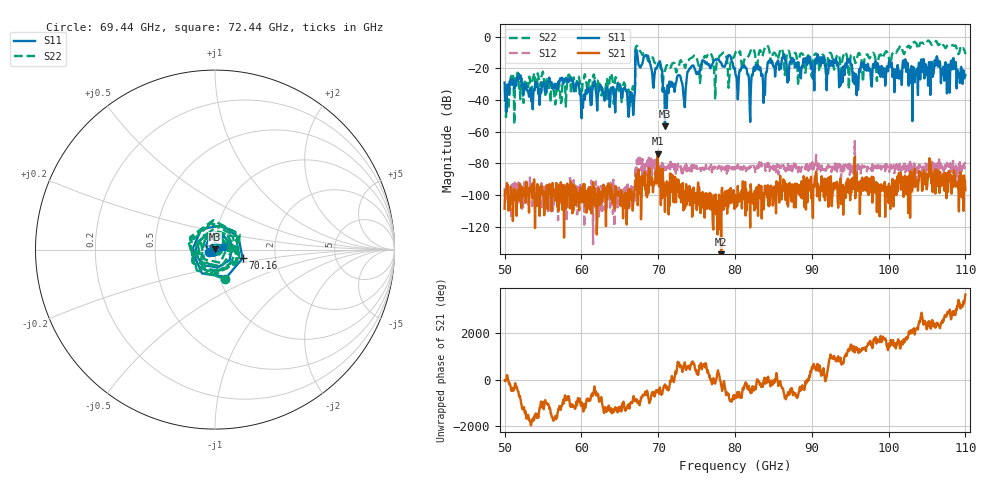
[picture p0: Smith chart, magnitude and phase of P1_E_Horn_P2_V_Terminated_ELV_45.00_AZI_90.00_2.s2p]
! 11/26/2026 10:26:47 AM
! C:\ANRITSUVNA\TEMP\TEMP.S2P
! CHANNEL.1
! TR.MEASUREMENT
! RAW.DATA
# HZ S RI R 50.0
! FREQ.HZ  S11RE  S11IM  S21RE  S21IM  S12RE  S12IM  S22RE  S22IM
!; PortSelection: Port_12
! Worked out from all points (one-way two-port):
!   1001 points, 50 GHz to 110 GHz, reference 50 ohm
!   highest |S21| = -73.91 dB at 69.92 GHz (marker M1); lowest = -140.0 dB at 78.2 GHz (marker M2)
!   lowest |S11| = -56.7 dB at 70.88 GHz (marker M3), VSWR 1.00, Z = 50 + j0.147 ohm
!   |S11| at or under -10 dB: start of sweep to 67.04 GHz; 67.25 GHz to end of sweep
!   |S22| runs from -55.3 to -2.4 dB; largest |S21 - S12| = 0.00057
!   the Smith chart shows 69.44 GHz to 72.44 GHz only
!   S11 on the Smith chart (normalised r, x): 69.44 GHz: 0.93, -0.02; 70.16 GHz: 1.36, -0.13; 72.44 GHz: 1.10, +0.03
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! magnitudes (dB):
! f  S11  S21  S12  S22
! 50 GHz  -29.0  -108.7  -95.6  -34.2
! 58.46 GHz  -27.1  -99.1  -102.8  -24.5
! 60.02 GHz  -51.5  -98.0  -102.9  -37.7
! 66.32 GHz  -36.5  -96.3  -104.8  -42.2
! 67.34 GHz  -14.0  -106.5  -79.8  -6.5
! 69.44 GHz  -28.6  -93.8  -84.4  -15.4
! 69.92 GHz  -18.1  -73.9  -80.2  -16.2
! 70.04 GHz  -17.0  -82.5  -83.2  -15.9
! 70.16 GHz  -15.9  -83.5  -80.3  -18.0
! 70.88 GHz  -56.7  -110.7  -83.0  -21.4
! 72.44 GHz  -26.0  -97.9  -85.6  -21.3
! 73.34 GHz  -39.6  -104.3  -81.9  -16.5
! 74.3 GHz  -19.1  -96.7  -81.4  -13.4
! 77.48 GHz  -14.7  -99.7  -81.4  -26.8
! 78.2 GHz  -16.4  -140.0  -84.9  -11.4
! 79.28 GHz  -11.8  -96.6  -82.7  -24.3
! 80 GHz  -20.8  -99.9  -83.6  -11.0
! 81.98 GHz  -53.8  -120.5  -82.5  -9.7
! 84.56 GHz  -14.4  -100.3  -82.0  -11.3
! 90.02 GHz  -16.7  -95.3  -80.0  -25.4
! 100 GHz  -16.1  -92.9  -84.7  -13.4
! 110 GHz  -24.3  -97.1  -80.2  -11.0
